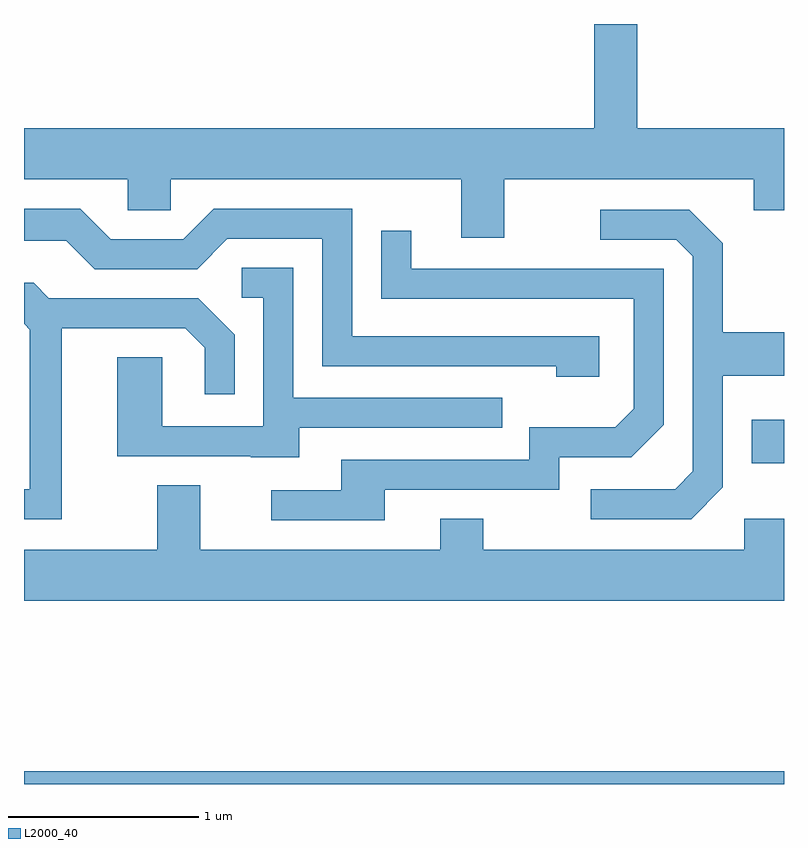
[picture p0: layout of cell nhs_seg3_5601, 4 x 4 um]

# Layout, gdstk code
import gdstk
lib = gdstk.Library(unit=1e-6, precision=1e-09)
def R(c, l, rs):  # rectangles x0, y0, x1, y1
    for r in rs: c.add(gdstk.rectangle(r[:2], r[2:], *l))
def P(c, l, *ps):  # polygons
    for p in ps: c.add(gdstk.Polygon(p, *l))
L2000_40 = (2000, 40)

nhs_seg3_5601 = lib.new_cell('nhs_seg3_5601')
R(nhs_seg3_5601, L2000_40, [(349.611,1173.892,353.611,1173.959), (353.441,1175.581,353.611,1175.809)])
P(nhs_seg3_5601, L2000_40, [(352.139,1177.076),(353.451,1177.076),(353.451,1176.911),(353.611,1176.911),(353.611,1177.344),(352.839,1177.344),(352.839,1177.892),(352.611,1177.892),(352.611,1177.344),(349.611,1177.344),(349.611,1177.076),(350.156,1177.076),(350.156,1176.911),(350.384,1176.911),(350.384,1177.076),(351.911,1177.076),(351.911,1176.766),(352.139,1176.766)],
  [(352.639,1176.249),(351.339,1176.249),(351.339,1176.919),(350.609,1176.919),(350.449,1176.759),(350.067,1176.759),(349.907,1176.919),(349.611,1176.919),(349.611,1176.751),(349.834,1176.751),(349.984,1176.601),(350.522,1176.601),(350.682,1176.761),(351.181,1176.761),(351.181,1176.091),(352.411,1176.091),(352.411,1176.036),(352.639,1176.036)],
  [(353.289,1175.454),(353.289,1176.041),(353.611,1176.041),(353.611,1176.269),(353.289,1176.269),(353.289,1176.737),(353.112,1176.914),(352.643,1176.914),(352.643,1176.756),(353.044,1176.756),(353.131,1176.669),(353.131,1175.537),(353.039,1175.444),(352.593,1175.444),(352.593,1175.286),(353.122,1175.286)],
  [(351.509,1175.441),(352.429,1175.441),(352.429,1175.611),(352.807,1175.611),(352.979,1175.784),(352.979,1176.604),(351.649,1176.604),(351.649,1176.803),(351.491,1176.803),(351.491,1176.446),(352.821,1176.446),(352.821,1175.867),(352.724,1175.769),(352.271,1175.769),(352.271,1175.599),(351.281,1175.599),(351.281,1175.439),(350.913,1175.439),(350.913,1175.281),(351.509,1175.281)],
  [(351.059,1175.766),(352.128,1175.766),(352.128,1175.924),(351.029,1175.924),(351.029,1176.609),(350.758,1176.609),(350.758,1176.451),(350.871,1176.451),(350.871,1175.774),(350.339,1175.774),(350.339,1176.139),(350.101,1176.139),(350.101,1175.616),(350.805,1175.616),(350.805,1175.611),(351.059,1175.611)],
  [(349.809,1176.291),(350.459,1176.291),(350.561,1176.189),(350.561,1175.943),(350.719,1175.943),(350.719,1176.257),(350.527,1176.449),(349.742,1176.449),(349.662,1176.529),(349.611,1176.529),(349.611,1176.314),(349.641,1176.284),(349.641,1175.444),(349.611,1175.444),(349.611,1175.286),(349.809,1175.286)],
  [(353.611,1175.289),(353.401,1175.289),(353.401,1175.124),(352.029,1175.124),(352.029,1175.289),(351.801,1175.289),(351.801,1175.124),(350.539,1175.124),(350.539,1175.464),(350.311,1175.464),(350.311,1175.124),(349.611,1175.124),(349.611,1174.856),(353.611,1174.856)])

lib.write_gds('nhs_seg3_5601.gds')
